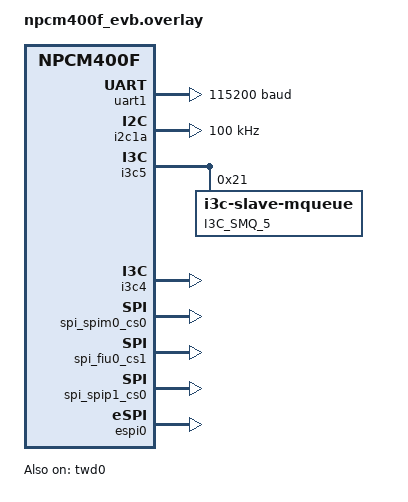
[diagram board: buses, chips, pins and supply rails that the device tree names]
/ {
	chosen {
		zephyr,legacy_console = &uart1;
	};
};

&uart1 {
	status = "okay";
	current-speed = <115200>;
	ext-loopback;
};

&twd0 {
       status = "okay";
};


&i2c1a {
	clock-frequency = <I2C_BITRATE_STANDARD>;
	status = "okay";
};

&i2c1b {
    status = "disabled";
};

&i2c2a {
	status = "disabled";
};

&i2c3a {
	status = "disabled";
};

&i2c4a {
    status = "disabled";
};

&i2c4b {
	status = "disabled";
};

&i2c5a {
	status = "disabled";
};

&i2c6a {
    status = "disabled";
};

&i2c6b {
	status = "disabled";
};

&i2c7a {
	status = "disabled";
};

&i2c8a {
    status = "disabled";
};

&i2c9a {
    status = "disabled";
};

&i2c10a {
    status = "disabled";
};

&i2c11a {
    status = "disabled";
};

&i2c12a {
    status = "disabled";
};

/* disable peci0, pin use by i3c */
&peci0 {
	status = "disabled";
};

#if 0
/* Use for I3C_5 controller */
&i3c5 {
	status = "okay";
	i2c-scl-hz = <100000>;
	i3c-scl-hz = <12500000>;
};
#endif

#if 1
&i3c5 {
	bcr = <0x66>;
	dcr = <0xCC>;
	part-id = <0x1234>;
	vendor-def-id = <0x5607>;
	slave;
	secondary;
	status = "okay";
	i3c5_smq:i3c-slave-mqueue@21 {
		compatible = "i3c-slave-mqueue";
		reg = <0x21>;
		msg-size = <256>;
		num-of-msgs = <4>;
		mandatory-data-byte = <0xae>;
		label = "I3C_SMQ_5";
		status = "okay";
	};
};
#endif

#if 1
/* Use for I3C_4 controller */
&i3c4 {
	status = "okay";
	i2c-scl-hz = <100000>;
	i3c-scl-hz = <12500000>;
};
#endif

#if 0
/* test for bridge slave mode only, MCTP EID = 0x12, use for I3C_4 target */
&i3c4 {
	status = "okay";
	bcr = <0x66>;
	dcr = <0xCC>;
	part-id = <0x4321>;
	assigned-address = <0xA>;
	vendor-def-id = <0x777>;
	slave;
	status = "okay";
	i3c4_smq:i3c-slave-mqueue@A {
		compatible = "i3c-slave-mqueue";
		reg = <0xA>;
		msg-size = <256>;
		num-of-msgs = <4>;
		mandatory-data-byte = <0xae>;
		label = "I3C_SMQ_4";
		status = "okay";
	};
};
#endif

#if 0
/* test for bridge slave mode only, MCTP EID = 0x13, use for I3C_4 target */
&i3c4 {
	status = "okay";
	bcr = <0x66>;
	dcr = <0xCC>;
	part-id = <0x4321>;
	assigned-address = <0xB>;
        vendor-def-id = <0x666>;
	slave;
	status = "okay";
	i3c4_smq:i3c-slave-mqueue@B {
		compatible = "i3c-slave-mqueue";
		reg = <0xB>;
		msg-size = <256>;
		num-of-msgs = <4>;
		mandatory-data-byte = <0xae>;
		label = "I3C_SMQ_4";
		status = "okay";
	};
};
#endif

&spi_spim0_cs0 {
	status = "okay";
};

&spi_fiu0_cs1 {
	status = "okay";
};

&spi_spip1_cs0 {
	status = "okay";
};

&espi0 {
	status = "okay";
};
